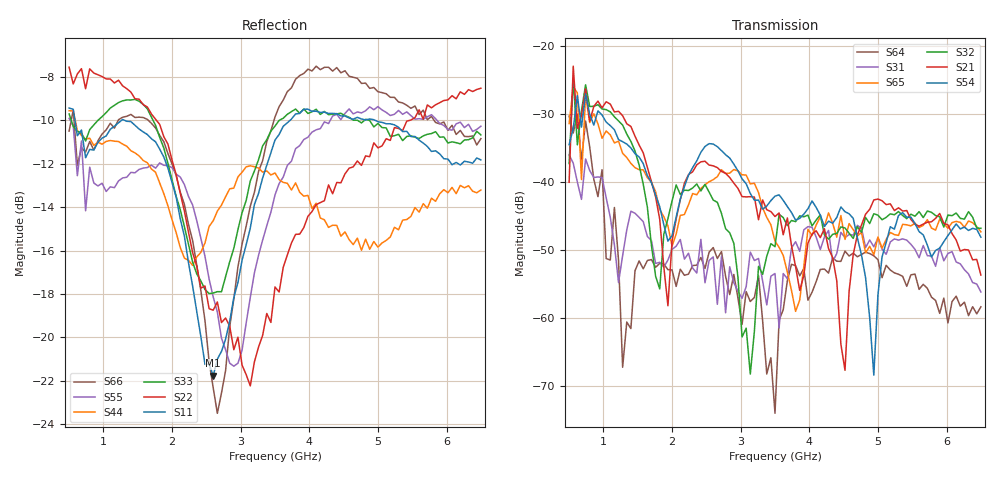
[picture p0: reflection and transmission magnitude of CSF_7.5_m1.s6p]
!Keysight Technologies,M9804A,MY58100912,A.14.10.03
!Date: Thursday, April 27, 2023 10:28:33
!Correction: S11(C  6-Port  )
!S12(C  6-Port  )
!S13(C  6-Port  )
!S14(C  6-Port  )
!S15(C  6-Port  )
!S16(C  6-Port  )
!S21(C  6-Port  )
!S22(C  6-Port  )
!S23(C  6-Port  )
!S24(C  6-Port  )
!S25(C  6-Port  )
!S26(C  6-Port  )
!S31(C  6-Port  )
!S32(C  6-Port  )
!S33(C  6-Port  )
!S34(C  6-Port  )
!S35(C  6-Port  )
!S36(C  6-Port  )
!S41(C  6-Port  )
!S42(C  6-Port  )
!S43(C  6-Port  )
!S44(C  6-Port  )
!S45(C  6-Port  )
!S46(C  6-Port  )
!S51(C  6-Port  )
!S52(C  6-Port  )
!S53(C  6-Port  )
!S54(C  6-Port  )
!S55(C  6-Port  )
!S56(C  6-Port  )
!S61(C  6-Port  )
!S62(C  6-Port  )
!S63(C  6-Port  )
!S64(C  6-Port  )
!S65(C  6-Port  )
!S66(C  6-Port  )
!S6P File: Measurement: :
# Hz S  RI  R 50
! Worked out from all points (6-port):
!   101 points, 500 MHz to 6.5 GHz, reference 50 ohm
!   strongest paths, dB at 500 MHz, 2 GHz, 3.5 GHz, 5 GHz, 6.5 GHz:
!     S54: -34.5, -47.9, -42.1, -56.6, -48.1
!     S21: -40.1, -48.7, -45.1, -42.5, -53.7
!     S32: -37.3, -42.8, -49.5, -44.9, -46.8
!     S65: -31.4, -49.5, -48.7, -48.1, -47.4
!     S31: -36.0, -49.9, -53.5, -48.3, -56.2
!     S64: -30.3, -53.0, -74.1, -51.5, -58.4
!   lowest |S11| = -21.8 dB at 2.6 GHz (marker M1), VSWR 1.18, Z = 42.7 + j1.93 ohm
!   |S11| at or under -10 dB: 584.8 MHz to 1.266 GHz (681.5 MHz wide, 73.6 % of centre); 1.305 GHz to 3.721 GHz (2.416 GHz wide, 96.2 % of centre); 4.957 GHz to end of sweep
